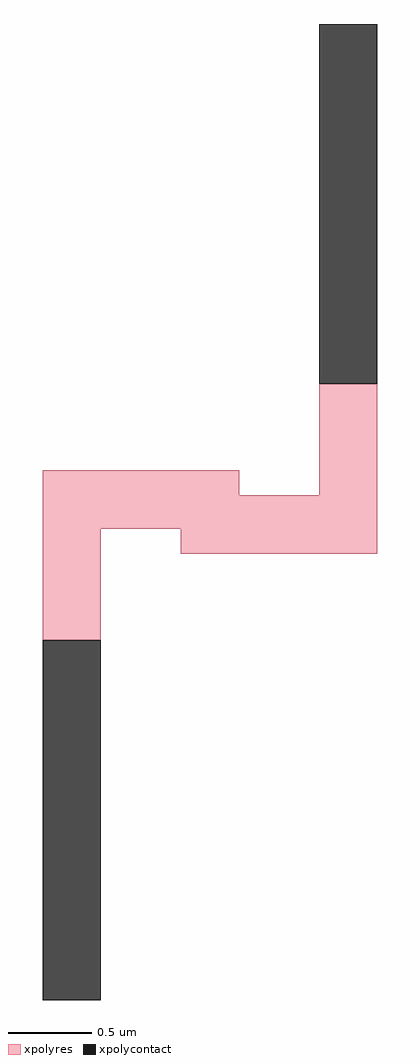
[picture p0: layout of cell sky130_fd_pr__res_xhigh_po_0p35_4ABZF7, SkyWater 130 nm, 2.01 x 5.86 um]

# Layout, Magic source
magic
tech sky130A
magscale 1 2
<< xpolycontact >>
rect 131 154 201 586
rect -201 -586 -131 -154
<< xpolyres >>
rect -201 20 35 50
rect 131 20 201 154
rect -201 -20 201 20
rect -201 -154 -131 -20
rect -35 -50 201 -20
<< properties >>
string gencell sky130_fd_pr__res_xhigh_po_0p35
string library sky130
string parameters w 0.35 l 0.5 m 1 nx 3 wmin 0.350 lmin 0.50 rho 2000 val 13.646k dummy 0 dw 0.0 term 188.2 sterm 0.0 caplen 0 wmax 0.350 guard 0 glc 1 grc 1 gtc 1 gbc 1 compatible {sky130_fd_pr__res_xhigh_po_0p35  sky130_fd_pr__res_xhigh_po_0p69 sky130_fd_pr__res_xhigh_po_1p41  sky130_fd_pr__res_xhigh_po_2p85 sky130_fd_pr__res_xhigh_po_5p73} snake 1 full_metal 1 n_guard 0 hv_guard 0 vias 1 viagb 0 viagt 0 viagl 0 viagr 0
<< end >>
